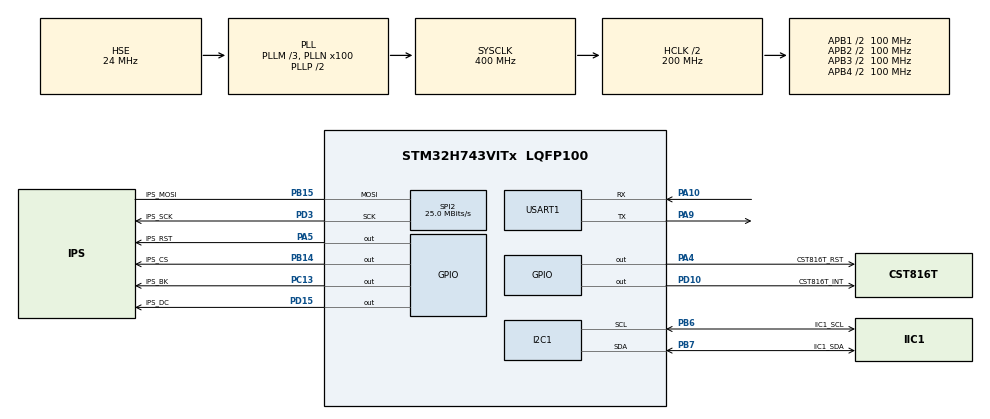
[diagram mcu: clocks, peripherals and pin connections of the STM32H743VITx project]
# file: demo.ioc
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CORTEX_M7.default_mode_Activation=1
Dma.Request0=SPI2_TX
Dma.SPI2_TX.0.Direction=DMA_MEMORY_TO_PERIPH
Dma.SPI2_TX.0.EventEnable=DISABLE
Dma.SPI2_TX.0.FIFOMode=DMA_FIFOMODE_ENABLE
Dma.SPI2_TX.0.FIFOThreshold=DMA_FIFO_THRESHOLD_FULL
Dma.SPI2_TX.0.Instance=DMA2_Stream3
Dma.SPI2_TX.0.MemBurst=DMA_MBURST_SINGLE
Dma.SPI2_TX.0.MemDataAlignment=DMA_MDATAALIGN_HALFWORD
Dma.SPI2_TX.0.MemInc=DMA_MINC_ENABLE
Dma.SPI2_TX.0.Mode=DMA_NORMAL
Dma.SPI2_TX.0.PeriphBurst=DMA_PBURST_SINGLE
Dma.SPI2_TX.0.PeriphDataAlignment=DMA_PDATAALIGN_HALFWORD
Dma.SPI2_TX.0.PeriphInc=DMA_PINC_DISABLE
Dma.SPI2_TX.0.Polarity=HAL_DMAMUX_REQ_GEN_RISING
Dma.SPI2_TX.0.Priority=DMA_PRIORITY_MEDIUM
Dma.SPI2_TX.0.RequestNumber=1
Dma.SPI2_TX.0.SignalID=NONE
Dma.SPI2_TX.0.SyncEnable=DISABLE
Dma.SPI2_TX.0.SyncPolarity=HAL_DMAMUX_SYNC_NO_EVENT
Dma.SPI2_TX.0.SyncRequestNumber=1
Dma.SPI2_TX.0.SyncSignalID=NONE
FREERTOS.Tasks01=defaultTask,40,512,StartDefaultTask,Default,NULL,Dynamic,NULL,NULL;myTask02,47,128,StartTask02,Default,NULL,Dynamic,NULL,NULL;myTask03,16,128,StartTask03,Default,NULL,Dynamic,NULL,NULL
I2C1.Timing=0x10C0ECFF
Mcu.Family=STM32H7
Mcu.Name=STM32H743VITx
Mcu.Package=LQFP100
NVIC.DMA2_Stream3_IRQn=true\:5\:0\:true\:false\:true\:true\:false\:true\:true
NVIC.PriorityGroup=NVIC_PRIORITYGROUP_4
NVIC.SPI2_IRQn=true\:5\:0\:true\:false\:true\:true\:true\:true\:true
NVIC.TIM6_DAC_IRQn=true\:15\:0\:false\:false\:true\:false\:false\:true\:true
NVIC.TimeBase=TIM6_DAC_IRQn
NVIC.TimeBaseIP=TIM6
PA10.GPIO_Speed=GPIO_SPEED_FREQ_HIGH
PA10.Mode=Asynchronous
PA10.Signal=USART1_RX
PA13\ (JTMS/SWDIO).Mode=Serial_Wire
PA13\ (JTMS/SWDIO).Signal=DEBUG_JTMS-SWDIO
PA14\ (JTCK/SWCLK).Mode=Serial_Wire
PA14\ (JTCK/SWCLK).Signal=DEBUG_JTCK-SWCLK
PA4.GPIO_Label=CST816T_RST
PA4.Signal=GPIO_Output
PA5.GPIO_Label=IPS_RST
PA5.Signal=GPIO_Output
PA9.GPIO_Speed=GPIO_SPEED_FREQ_HIGH
PA9.Mode=Asynchronous
PA9.Signal=USART1_TX
PB14.GPIO_Label=IPS_CS
PB14.GPIO_Speed=GPIO_SPEED_FREQ_HIGH
PB14.Signal=GPIO_Output
PB15.GPIO_Label=IPS_MOSI
PB15.GPIO_Speed=GPIO_SPEED_FREQ_LOW
PB15.Mode=Simplex_Bidirectional_Master
PB15.Signal=SPI2_MOSI
PB6.GPIO_Label=IIC1_SCL
PB6.Mode=I2C
PB6.Signal=I2C1_SCL
PB7.GPIO_Label=IIC1_SDA
PB7.Mode=I2C
PB7.Signal=I2C1_SDA
PC13.GPIO_Label=IPS_BK
PC13.GPIO_Speed=GPIO_SPEED_FREQ_LOW
PC13.Signal=GPIO_Output
PC14-OSC32_IN\ (OSC32_IN).Mode=LSE-External-Oscillator
PC14-OSC32_IN\ (OSC32_IN).Signal=RCC_OSC32_IN
PC15-OSC32_OUT\ (OSC32_OUT).Mode=LSE-External-Oscillator
PC15-OSC32_OUT\ (OSC32_OUT).Signal=RCC_OSC32_OUT
PD10.GPIO_Label=CST816T_INT
PD10.GPIO_ModeDefaultOutputPP=GPIO_MODE_OUTPUT_PP
PD10.GPIO_Speed=GPIO_SPEED_FREQ_HIGH
PD10.Signal=GPIO_Output
PD15.GPIO_Label=IPS_DC
PD15.GPIO_Speed=GPIO_SPEED_FREQ_HIGH
PD15.Signal=GPIO_Output
PD3.GPIO_Label=IPS_SCK
PD3.GPIO_Speed=GPIO_SPEED_FREQ_LOW
PD3.Mode=Simplex_Bidirectional_Master
PD3.Signal=SPI2_SCK
PH0-OSC_IN\ (PH0).Mode=HSE-External-Oscillator
PH0-OSC_IN\ (PH0).Signal=RCC_OSC_IN
PH1-OSC_OUT\ (PH1).Mode=HSE-External-Oscillator
PH1-OSC_OUT\ (PH1).Signal=RCC_OSC_OUT
ProjectManager.HeapSize=0x400
ProjectManager.StackSize=0x800
ProjectManager.TargetToolchain=MDK-ARM V5.32
RCC.ADCFreq_Value=400000000
RCC.APB1Freq_Value=100000000
RCC.APB2Freq_Value=100000000
RCC.APB3Freq_Value=100000000
RCC.APB4Freq_Value=100000000
RCC.CortexFreq_Value=400000000
RCC.D1PPRE=RCC_APB3_DIV2
RCC.D2PPRE1=RCC_APB1_DIV2
RCC.D2PPRE2=RCC_APB2_DIV2
RCC.D3PPRE=RCC_APB4_DIV2
RCC.DIVM1=3
RCC.DIVM2=3
RCC.DIVM3=3
RCC.DIVN1=100
RCC.DIVN2=100
RCC.DIVN3=100
RCC.DIVQ1=4
RCC.HCLKFreq_Value=200000000
RCC.HPRE=RCC_HCLK_DIV2
RCC.HSE_VALUE=24000000
RCC.PLLSourceVirtual=RCC_PLLSOURCE_HSE
RCC.SYSCLKFreq_VALUE=400000000
RCC.SYSCLKSource=RCC_SYSCLKSOURCE_PLLCLK
RCC.USBFreq_Value=200000000
SPI2.BaudRatePrescaler=SPI_BAUDRATEPRESCALER_8
SPI2.CLKPolarity=SPI_POLARITY_HIGH
SPI2.CalculateBaudRate=25.0 MBits/s
SPI2.DataSize=SPI_DATASIZE_8BIT
SPI2.Direction=SPI_DIRECTION_1LINE
SPI2.Mode=SPI_MODE_MASTER
SPI2.VirtualType=VM_MASTER
USART1.VirtualMode-Asynchronous=VM_ASYNC
VP_FREERTOS_VS_CMSIS_V2.Mode=CMSIS_V2
VP_SYS_VS_tim6.Mode=TIM6
board=custom

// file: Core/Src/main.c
/* USER CODE BEGIN Header */
/**
  ******************************************************************************
  * @file           : main.c
  * @brief          : Main program body
  ******************************************************************************
  * @attention
  *
  * Copyright (c) 2024 STMicroelectronics.
  * All rights reserved.
  *
  * This software is licensed under terms that can be found in the LICENSE file
  * in the root directory of this software component.
  * If no LICENSE file comes with this software, it is provided AS-IS.
  *
  ******************************************************************************
  */
/* USER CODE END Header */
#include "main.h"
#include "cmsis_os.h"
#include "dma.h"
#include "i2c.h"
#include "spi.h"
#include "usart.h"
#include "gpio.h"

void SystemClock_Config(void);
static void MPU_Config(void);
void MX_FREERTOS_Init(void);

int main(void)
{

  /* MPU Configuration--------------------------------------------------------*/
  MPU_Config();

  /* MCU Configuration--------------------------------------------------------*/

  /* Reset of all peripherals, Initializes the Flash interface and the Systick. */
  HAL_Init();

  /* Configure the system clock */
  SystemClock_Config();

  /* Initialize all configured peripherals */
  MX_GPIO_Init();
  MX_DMA_Init();
  MX_SPI2_Init();
  MX_USART1_UART_Init();
  MX_I2C1_Init();

  /* Init scheduler */
  osKernelInitialize();

  /* Call init function for freertos objects (in cmsis_os2.c) */
  MX_FREERTOS_Init();

  /* Start scheduler */
  osKernelStart();

  /* We should never get here as control is now taken by the scheduler */

  /* Infinite loop */
  while (1)
  {

  }
}

void SystemClock_Config(void)
{
  RCC_OscInitTypeDef RCC_OscInitStruct = {0};
  RCC_ClkInitTypeDef RCC_ClkInitStruct = {0};

  /** Supply configuration update enable
  */
  HAL_PWREx_ConfigSupply(PWR_LDO_SUPPLY);

  /** Configure the main internal regulator output voltage
  */
  __HAL_PWR_VOLTAGESCALING_CONFIG(PWR_REGULATOR_VOLTAGE_SCALE1);

  while(!__HAL_PWR_GET_FLAG(PWR_FLAG_VOSRDY)) {}

  /** Initializes the RCC Oscillators according to the specified parameters
  * in the RCC_OscInitTypeDef structure.
  */
  RCC_OscInitStruct.OscillatorType = RCC_OSCILLATORTYPE_HSE;
  RCC_OscInitStruct.HSEState = RCC_HSE_ON;
  RCC_OscInitStruct.PLL.PLLState = RCC_PLL_ON;
  RCC_OscInitStruct.PLL.PLLSource = RCC_PLLSOURCE_HSE;
  RCC_OscInitStruct.PLL.PLLM = 3;
  RCC_OscInitStruct.PLL.PLLN = 100;
  RCC_OscInitStruct.PLL.PLLP = 2;
  RCC_OscInitStruct.PLL.PLLQ = 4;
  RCC_OscInitStruct.PLL.PLLR = 2;
  RCC_OscInitStruct.PLL.PLLRGE = RCC_PLL1VCIRANGE_3;
  RCC_OscInitStruct.PLL.PLLVCOSEL = RCC_PLL1VCOWIDE;
  RCC_OscInitStruct.PLL.PLLFRACN = 0;
  if (HAL_RCC_OscConfig(&RCC_OscInitStruct) != HAL_OK)
  {
    Error_Handler();
  }

  /** Initializes the CPU, AHB and APB buses clocks
  */
  RCC_ClkInitStruct.ClockType = RCC_CLOCKTYPE_HCLK|RCC_CLOCKTYPE_SYSCLK
                              |RCC_CLOCKTYPE_PCLK1|RCC_CLOCKTYPE_PCLK2
                              |RCC_CLOCKTYPE_D3PCLK1|RCC_CLOCKTYPE_D1PCLK1;
  RCC_ClkInitStruct.SYSCLKSource = RCC_SYSCLKSOURCE_PLLCLK;
  RCC_ClkInitStruct.SYSCLKDivider = RCC_SYSCLK_DIV1;
  RCC_ClkInitStruct.AHBCLKDivider = RCC_HCLK_DIV2;
  RCC_ClkInitStruct.APB3CLKDivider = RCC_APB3_DIV2;
  RCC_ClkInitStruct.APB1CLKDivider = RCC_APB1_DIV2;
  RCC_ClkInitStruct.APB2CLKDivider = RCC_APB2_DIV2;
  RCC_ClkInitStruct.APB4CLKDivider = RCC_APB4_DIV2;

  if (HAL_RCC_ClockConfig(&RCC_ClkInitStruct, FLASH_LATENCY_2) != HAL_OK)
  {
    Error_Handler();
  }
}

 /* MPU Configuration */

void MPU_Config(void)
{
  MPU_Region_InitTypeDef MPU_InitStruct = {0};

  /* Disables the MPU */
  HAL_MPU_Disable();

  /** Initializes and configures the Region and the memory to be protected
  */
  MPU_InitStruct.Enable = MPU_REGION_ENABLE;
  MPU_InitStruct.Number = MPU_REGION_NUMBER0;
  MPU_InitStruct.BaseAddress = 0x0;
  MPU_InitStruct.Size = MPU_REGION_SIZE_4GB;
  MPU_InitStruct.SubRegionDisable = 0x87;
  MPU_InitStruct.TypeExtField = MPU_TEX_LEVEL0;
  MPU_InitStruct.AccessPermission = MPU_REGION_NO_ACCESS;
  MPU_InitStruct.DisableExec = MPU_INSTRUCTION_ACCESS_DISABLE;
  MPU_InitStruct.IsShareable = MPU_ACCESS_SHAREABLE;
  MPU_InitStruct.IsCacheable = MPU_ACCESS_NOT_CACHEABLE;
  MPU_InitStruct.IsBufferable = MPU_ACCESS_NOT_BUFFERABLE;

  HAL_MPU_ConfigRegion(&MPU_InitStruct);
  /* Enables the MPU */
  HAL_MPU_Enable(MPU_PRIVILEGED_DEFAULT);

}

void HAL_TIM_PeriodElapsedCallback(TIM_HandleTypeDef *htim)
{
  if (htim->Instance == TIM6) {
    HAL_IncTick();
  }
}

void Error_Handler(void)
{
  __disable_irq();
  while (1)
  {
  }
}

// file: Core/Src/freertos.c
/* USER CODE BEGIN Header */
/**
  ******************************************************************************
  * File Name          : freertos.c
  * Description        : Code for freertos applications
  ******************************************************************************
  * @attention
  *
  * Copyright (c) 2024 STMicroelectronics.
  * All rights reserved.
  *
  * This software is licensed under terms that can be found in the LICENSE file
  * in the root directory of this software component.
  * If no LICENSE file comes with this software, it is provided AS-IS.
  *
  ******************************************************************************
  */
/* USER CODE END Header */

#include "FreeRTOS.h"
#include "task.h"
#include "main.h"
#include "cmsis_os.h"

/* USER CODE BEGIN Includes */
#include "i2c.h"
#include "stdio.h"
#include "ina219.h"
#include "button.h"
#include "lvgl.h"
#include "lv_demo_benchmark.h"
#include "lv_port_indev_template.h"
#include "lv_port_disp_template.h"
/* USER CODE END Includes */

/* Definitions for defaultTask */
osThreadId_t defaultTaskHandle;
const osThreadAttr_t defaultTask_attributes = {
  .name = "defaultTask",
  .stack_size = 512 * 4,
  .priority = (osPriority_t) osPriorityHigh,
};
/* Definitions for myTask02 */
osThreadId_t myTask02Handle;
const osThreadAttr_t myTask02_attributes = {
  .name = "myTask02",
  .stack_size = 128 * 4,
  .priority = (osPriority_t) osPriorityHigh7,
};
/* Definitions for myTask03 */
osThreadId_t myTask03Handle;
const osThreadAttr_t myTask03_attributes = {
  .name = "myTask03",
  .stack_size = 128 * 4,
  .priority = (osPriority_t) osPriorityBelowNormal,
};

void StartDefaultTask(void *argument);
void StartTask02(void *argument);
void StartTask03(void *argument);

void MX_FREERTOS_Init(void); /* (MISRA C 2004 rule 8.1) */

void MX_FREERTOS_Init(void) {
  /* USER CODE BEGIN Init */

//	lv_init(); 				      /* lvgl 系统初始化 */
//	lv_port_disp_init(); 	  /* lvgl 显示接口初始化,放在 lv_init()的后面 */
//	lv_port_indev_init(); 	/* lvgl 输入接口初始化,放在 lv_init()的后面 */

  /* USER CODE END Init */

  /* Create the thread(s) */
  /* creation of defaultTask */
  //defaultTaskHandle = osThreadNew(StartDefaultTask, NULL, &defaultTask_attributes);

  /* creation of myTask02 */
  myTask02Handle = osThreadNew(StartTask02, NULL, &myTask02_attributes);

  /* creation of myTask03 */
  myTask03Handle = osThreadNew(StartTask03, NULL, &myTask03_attributes);

}

void StartDefaultTask(void *argument)
{
  /* USER CODE BEGIN StartDefaultTask */
	lv_demo_benchmark();
	//lv_demo_keypad_encoder();
  /* Infinite loop */
  for(;;)
  {
	  lv_timer_handler();
    osDelay(5);
  }
  /* USER CODE END StartDefaultTask */
}

void StartTask02(void *argument)
{
  /* USER CODE BEGIN StartTask02 */
  /* Infinite loop */
  for(;;)
  {
	  bsp_KeyScan10ms();
    osDelay(10);
  }
  /* USER CODE END StartTask02 */
}

void StartTask03(void *argument)
{
  /* USER CODE BEGIN StartTask03 */
	INA219_t ina219;
	float usPower;

	INA219_Init(&ina219, &hi2c1, INA219_ADDRESS);
  /* Infinite loop */
  for(;;)
  {
	  usPower = (float)INA219_ReadPower_mW(&ina219)/1000;
	  printf("ina219 power(W):%.5f\r\n", usPower);
    osDelay(500);
  }
  /* USER CODE END StartTask03 */
}
